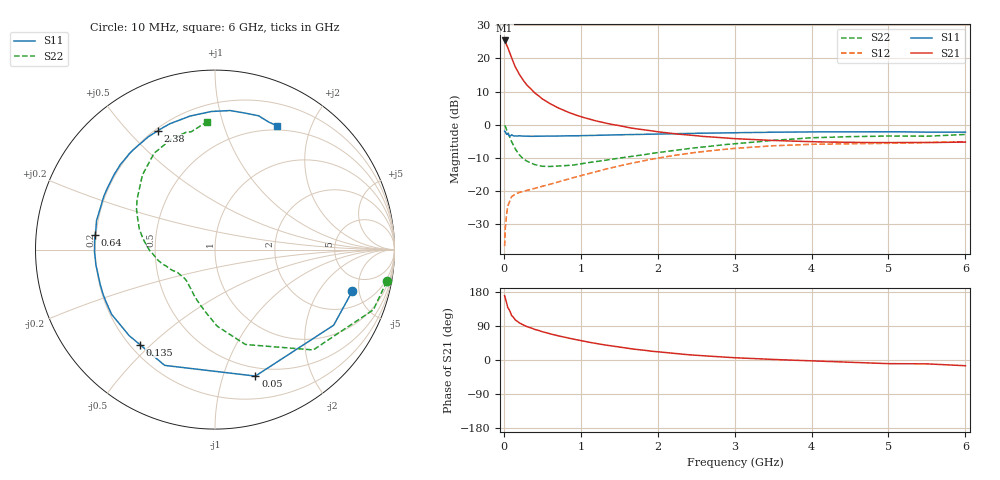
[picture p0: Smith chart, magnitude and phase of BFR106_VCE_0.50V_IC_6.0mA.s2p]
! Infineon Technologies  Discrete & RF Semiconductors
! BFR106
! VCE = 0.50 V,  IC =  6.0 mA
! Common Emitter S-Parameters:  Nov 2015
# GHz  S  MA  R  50
!  f  S11  S21  S12  S22
! GHz  MAG  ANG  MAG  ANG  MAG  ANG  MAG  ANG
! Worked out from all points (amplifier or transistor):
!   210 points, 10 MHz to 6 GHz, reference 50 ohm
!   highest |S21| = 25.4 dB at 10 MHz (marker M1)
!   |S21| within 3 dB of that: start of sweep to 64.57 MHz
!   unconditionally stable (mu >= 1): 528.2 MHz to end of sweep
!   at 185 MHz: K = 0.45, MSG = 18.3 dB, |S12| = -20.6 dB
!   at 1.52 GHz: K = 1.17, MAG = 3.5 dB, |S12| = -12.4 dB
!   at 6 GHz: K = 1.03, MAG = -1.1 dB, |S12| = -5.1 dB
!   S11 on the Smith chart (normalised r, x): 10 MHz: 3.30, -4.25; 50 MHz: 0.41, -1.28; 135 MHz: 0.24, -0.46; 640 MHz: 0.20, +0.06; 2.38 GHz: 0.21, +0.61; 6 GHz: 0.45, +1.53
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0.01  0.799 -16.9  18.72 169.8  0.0146 82.1  0.9733 -10.5
0.02  0.7839 -32.5  17.99 161.6  0.0281 75.1  0.9439 -20.8
0.05  0.7397 -72.3  14.73 139.1  0.0587 55.1  0.7825 -45.6
0.1  0.7034 -113.5  10.2 117.7  0.0814 39.6  0.5553 -72.2
0.135  0.6748 -128.4  8.19 110.0  0.0872 35.0  0.4616 -82.6
0.15  0.6771 -135.0  7.392 105.5  0.0899 33.2  0.4274 -88.3
0.2  0.6796 -148.0  5.794 98.1  0.0946 31.1  0.3525 -98.5
0.24  0.673 -155.1  4.91 93.6  0.0975 30.8  0.3141 -106.0
0.26  0.6715 -158.1  4.547 91.5  0.0989 30.8  0.3003 -109.2
0.3  0.6685 -162.9  3.961 88.1  0.1018 31.4  0.2813 -114.2
0.4  0.6689 -172.7  3.031 80.8  0.1089 33.6  0.2495 -124.4
0.5  0.6716 -179.1  2.453 74.7  0.1167 36.4  0.2353 -131.7
0.64  0.6725 173.1  1.968 67.2  0.1295 39.8  0.2348 -138.7
0.8  0.6796 166.3  1.602 59.5  0.1464 42.9  0.2406 -145.4
1.02  0.6829 156.9  1.301 50.4  0.172 45.8  0.2577 -152.3
1.4  0.6998 144.0  1.011 37.2  0.2234 46.9  0.3001 -163.9
2.02  0.7215 125.5  0.776 21.3  0.3151 42.1  0.3814 176.8
2.38  0.7356 115.6  0.702 14.3  0.3661 37.1  0.4336 165.4
3.1  0.7578 98.8  0.607 5.1  0.446 25.1  0.5266 144.4
4.1  0.7784 82.5  0.549 -2.9  0.5066 9.4  0.6385 120.2
5.1  0.781 71.0  0.535 -9.7  0.5256 -2.6  0.6733 103.0
6  0.7717 63.4  0.546 -15.1  0.5531 -11.1  0.7122 93.8
